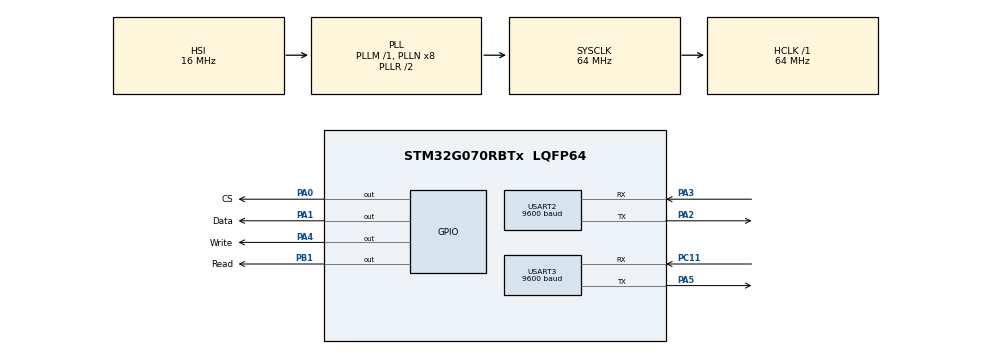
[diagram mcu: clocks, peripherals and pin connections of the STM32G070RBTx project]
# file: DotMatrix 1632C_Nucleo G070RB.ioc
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Mcu.Family=STM32G0
Mcu.Name=STM32G070RBTx
Mcu.Package=LQFP64
NVIC.USART2_IRQn=true\:0\:0\:false\:false\:true\:true\:true
NVIC.USART3_4_IRQn=true\:0\:0\:false\:false\:true\:true\:true
PA0.GPIO_Label=CS
PA0.GPIO_ModeDefaultOutputPP=GPIO_MODE_OUTPUT_PP
PA0.GPIO_PuPd=GPIO_NOPULL
PA0.Signal=GPIO_Output
PA1.GPIO_Label=Data
PA1.GPIO_ModeDefaultOutputPP=GPIO_MODE_OUTPUT_PP
PA1.GPIO_PuPd=GPIO_NOPULL
PA1.Signal=GPIO_Output
PA2.Mode=Asynchronous
PA2.Signal=USART2_TX
PA3.Mode=Asynchronous
PA3.Signal=USART2_RX
PA4.GPIO_Label=Write
PA4.GPIO_ModeDefaultOutputPP=GPIO_MODE_OUTPUT_PP
PA4.GPIO_PuPd=GPIO_NOPULL
PA4.Signal=GPIO_Output
PA5.Mode=Asynchronous
PA5.Signal=USART3_TX
PB1.GPIO_Label=Read
PB1.GPIO_ModeDefaultOutputPP=GPIO_MODE_OUTPUT_PP
PB1.GPIO_PuPd=GPIO_NOPULL
PB1.Signal=GPIO_Output
PC11.Mode=Asynchronous
PC11.Signal=USART3_RX
PC14-OSC32_IN\ (PC14).Mode=LSE-External-Oscillator
PC14-OSC32_IN\ (PC14).Signal=RCC_OSC32_IN
PC15-OSC32_OUT\ (PC15).Mode=LSE-External-Oscillator
PC15-OSC32_OUT\ (PC15).Signal=RCC_OSC32_OUT
PF0-OSC_IN\ (PF0).Mode=HSE-External-Oscillator
PF0-OSC_IN\ (PF0).Signal=RCC_OSC_IN
PF1-OSC_OUT\ (PF1).Mode=HSE-External-Oscillator
PF1-OSC_OUT\ (PF1).Signal=RCC_OSC_OUT
ProjectManager.HeapSize=0x200
ProjectManager.StackSize=0x400
ProjectManager.TargetToolchain=MDK-ARM V5.27
RCC.ADCFreq_Value=64000000
RCC.AHBFreq_Value=64000000
RCC.CortexFreq_Value=64000000
RCC.EXTERNAL_CLOCK_VALUE=48000
RCC.HCLKFreq_Value=64000000
RCC.HSE_VALUE=8000000
RCC.HSI_VALUE=16000000
RCC.RTCClockSelection=RCC_RTCCLKSOURCE_LSE
RCC.SYSCLKFreq_VALUE=64000000
RCC.SYSCLKSource=RCC_SYSCLKSOURCE_PLLCLK
RCC.VCOOutputFreq_Value=128000000
RTC.Date=8
RTC.Hours=10
RTC.Minutes=20
RTC.Month=RTC_MONTH_AUGUST
RTC.Seconds=30
TIM1.Prescaler=64-1
USART2.BaudRate=9600
USART2.VirtualMode-Asynchronous=VM_ASYNC
USART3.BaudRate=9600
USART3.VirtualMode-Asynchronous=VM_ASYNC
VP_RTC_VS_RTC_Activate.Mode=RTC_Enabled
VP_RTC_VS_RTC_Calendar.Mode=RTC_Calendar
VP_SYS_VS_DBSignals.Mode=DisableDeadBatterySignals
VP_TIM1_VS_ClockSourceINT.Mode=Internal
board=custom

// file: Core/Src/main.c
/* USER CODE BEGIN Header */
/**
  ******************************************************************************
  * @file           : main.c
  * @brief          : Main program body
  ******************************************************************************
  * @attention
  *
  * <h2><center>&copy; Copyright (c) 2022 STMicroelectronics.
  * All rights reserved.</center></h2>
  *
  * This software component is licensed by ST under BSD 3-Clause license,
  * the "License"; You may not use this file except in compliance with the
  * License. You may obtain a copy of the License at:
  *                        opensource.org/licenses/BSD-3-Clause
  *
  ******************************************************************************
  */
/* USER CODE END Header */
#include "main.h"

/* USER CODE BEGIN Includes */
#include "stdio.h"
#include "string.h"
/* USER CODE END Includes */

/* USER CODE BEGIN PTD */
#ifdef __GNUC__
  /* With GCC, small printf (option LD Linker->Libraries->Small printf
     set to 'Yes') calls __io_putchar() */
  #define PUTCHAR_PROTOTYPE int __io_putchar(int ch)
#else
  #define PUTCHAR_PROTOTYPE int fputc(int ch, FILE *f)
#endif /* __GNUC__ */
/* USER CODE END PTD */

RTC_HandleTypeDef hrtc;

TIM_HandleTypeDef htim1;

UART_HandleTypeDef huart2;
UART_HandleTypeDef huart3;

/* USER CODE BEGIN PV */

// Block Segment
uint16_t firstSeg[] = {0xfe, 0xfe, 0x35, 0x31, 0x2d, 0x29, 0x25, 0x21, 0x1d, 0x19, 0x15, 0x11, 0x0d, 0x09, 0x05, 0x01};
uint16_t secSeg[] 	= {0xfe, 0xfe, 0x34, 0x30, 0x2c, 0x28, 0x24, 0x20, 0x1c, 0x18, 0x14, 0x10, 0x0c, 0x08, 0x04, 0x00};

// Variables for time
uint8_t jam = 0, menit = 0, detik = 0;
char time[10];
char date[10];
RTC_DateTypeDef gDate;
RTC_TimeTypeDef gTime;
char Rx_deviceSerial[10], Tx_deviceSerial[10];
_Bool timeCmd, playCmd, wifiCmd;
char commandData[10];
/* USER CODE END PV */

void SystemClock_Config(void);
static void MX_GPIO_Init(void);
static void MX_TIM1_Init(void);
static void MX_USART2_UART_Init(void);
static void MX_RTC_Init(void);
static void MX_USART3_UART_Init(void);
/* USER CODE BEGIN PFP */

// Function for sending data to HT1632C
void delay_us (uint16_t us);
void CS();
void CMD_100_Command(uint16_t byte);
void CMD_101_Write(uint16_t byte, uint8_t data);
void clear101();
void init();
uint16_t convertNumber(int num);

// Function for timer
void displayHour(uint8_t hr);
void displayMinSec(uint8_t min, uint8_t sec);
void sendToMonitor(char data[10]);
void sendToNucleog031(char data[10]);
void setTime(void);
void get_time(void);
void clearBuf();
/* USER CODE END PFP */

/* USER CODE BEGIN 0 */
void HAL_UART_RxCpltCallback(UART_HandleTypeDef *huart)
{
	HAL_UART_Receive_IT(serialG031, (uint8_t *)Rx_deviceSerial, sizeof(Rx_deviceSerial));
	//sendToMonitor(Rx_deviceSerial);
}

void get_time(void)
{
	HAL_RTC_GetTime(&hrtc, &gTime, RTC_FORMAT_BIN);
	HAL_RTC_GetDate(&hrtc, &gDate, RTC_FORMAT_BIN);
	sprintf((char*)time,"%02d:%02d:%02d",gTime.Hours, gTime.Minutes, gTime.Seconds);
	//sendToNucleog031(time);
	//sendToMonitor(time);
	//sprintf((char*)date,"%02d-%02d-%2d",gDate.Date, gDate.Month, 2000 + gDate.Year);
}

void clearBuf() {for(int i=0; i<strlen(commandData); i++) {commandData[i] = '\0';}}

/* USER CODE END 0 */

int main(void)
{

  /* MCU Configuration--------------------------------------------------------*/

  /* Reset of all peripherals, Initializes the Flash interface and the Systick. */
  HAL_Init();

  /* Configure the system clock */
  SystemClock_Config();

  /* Initialize all configured peripherals */
  MX_GPIO_Init();
  MX_TIM1_Init();
  MX_USART2_UART_Init();
  MX_RTC_Init();
  MX_USART3_UART_Init();
  /* USER CODE BEGIN 2 */
	HAL_TIM_Base_Start(&htim1);			// Start timer 1 for delay_Us function
	init();													// Initialize display
	HAL_UART_Receive_IT(serialG031, (uint8_t *)Rx_deviceSerial, sizeof(Rx_deviceSerial)); 	// Receive interrupt data from UART

	// Init variable
	timeCmd 	= 1;
	playCmd 	= 1;
	wifiCmd		= 1;

	// Set time
	if (HAL_RTCEx_BKUPRead(&hrtc, RTC_BKP_DR1) != 0x32f2)
	{
		setTime();
	}
  /* USER CODE END 2 */

  /* Infinite loop */
  while (1)
  {

    /* USER CODE BEGIN 3 */

		// Current time from RTC
		get_time();

		// Assign time to Transmit data buffer
		strncpy(Tx_deviceSerial, time, 10);
		// Assign received data from UART Nuclog031 to buffer
		strncpy(commandData, Rx_deviceSerial, 10);

		timeCmd 	= strcmp(commandData, "\ntime\r");
		playCmd 	= strcmp(commandData, "\nplay\r");
		wifiCmd		= strcmp(commandData, "\nwifi\r");

		// Send data time to other if requested
		if(timeCmd == 0)
		{
			//sendToMonitor(Tx_deviceSerial);
			sendToNucleog031(Tx_deviceSerial);
			HAL_Delay(100);
			clearBuf();
			timeCmd = 1;
		}
		else if (playCmd == 0)	{CMD_101_Write(0x22, 0x1); playCmd = 1;}		// Turn On Play Symbol
		else if (wifiCmd == 0)	{CMD_101_Write(0x12, 0x1); wifiCmd = 1;}		// Turn On WiFi Symbol

		CMD_101_Write(0xe, 0x2);			// Titik dua kiri
		CMD_101_Write(0x12, 0x2);			// Titik dua kanan

		displayMinSec(gTime.Minutes, gTime.Seconds);
		displayHour(gTime.Hours);

		detik++;
		if (detik == 60)
		{
			detik = 0;
			menit++;
		}
		else if (menit == 60)
		{
			detik = 0;
			menit = 0;
			jam++;
		}
		else if (jam == 24)
		{
			jam = 0;
			menit = 0;
			detik++;
		}
		HAL_Delay(1000);
  }
  /* USER CODE END 3 */
}

void SystemClock_Config(void)
{
  RCC_OscInitTypeDef RCC_OscInitStruct = {0};
  RCC_ClkInitTypeDef RCC_ClkInitStruct = {0};
  RCC_PeriphCLKInitTypeDef PeriphClkInit = {0};

  /** Configure the main internal regulator output voltage
  */
  HAL_PWREx_ControlVoltageScaling(PWR_REGULATOR_VOLTAGE_SCALE1);
  /** Configure LSE Drive Capability
  */
  HAL_PWR_EnableBkUpAccess();
  __HAL_RCC_LSEDRIVE_CONFIG(RCC_LSEDRIVE_LOW);
  /** Initializes the RCC Oscillators according to the specified parameters
  * in the RCC_OscInitTypeDef structure.
  */
  RCC_OscInitStruct.OscillatorType = RCC_OSCILLATORTYPE_HSI|RCC_OSCILLATORTYPE_LSE;
  RCC_OscInitStruct.LSEState = RCC_LSE_ON;
  RCC_OscInitStruct.HSIState = RCC_HSI_ON;
  RCC_OscInitStruct.HSIDiv = RCC_HSI_DIV1;
  RCC_OscInitStruct.HSICalibrationValue = RCC_HSICALIBRATION_DEFAULT;
  RCC_OscInitStruct.PLL.PLLState = RCC_PLL_ON;
  RCC_OscInitStruct.PLL.PLLSource = RCC_PLLSOURCE_HSI;
  RCC_OscInitStruct.PLL.PLLM = RCC_PLLM_DIV1;
  RCC_OscInitStruct.PLL.PLLN = 8;
  RCC_OscInitStruct.PLL.PLLP = RCC_PLLP_DIV2;
  RCC_OscInitStruct.PLL.PLLR = RCC_PLLR_DIV2;
  if (HAL_RCC_OscConfig(&RCC_OscInitStruct) != HAL_OK)
  {
    Error_Handler();
  }
  /** Initializes the CPU, AHB and APB buses clocks
  */
  RCC_ClkInitStruct.ClockType = RCC_CLOCKTYPE_HCLK|RCC_CLOCKTYPE_SYSCLK
                              |RCC_CLOCKTYPE_PCLK1;
  RCC_ClkInitStruct.SYSCLKSource = RCC_SYSCLKSOURCE_PLLCLK;
  RCC_ClkInitStruct.AHBCLKDivider = RCC_SYSCLK_DIV1;
  RCC_ClkInitStruct.APB1CLKDivider = RCC_HCLK_DIV1;

  if (HAL_RCC_ClockConfig(&RCC_ClkInitStruct, FLASH_LATENCY_2) != HAL_OK)
  {
    Error_Handler();
  }
  /** Initializes the peripherals clocks
  */
  PeriphClkInit.PeriphClockSelection = RCC_PERIPHCLK_RTC|RCC_PERIPHCLK_USART2;
  PeriphClkInit.Usart2ClockSelection = RCC_USART2CLKSOURCE_PCLK1;
  PeriphClkInit.RTCClockSelection = RCC_RTCCLKSOURCE_LSE;

  if (HAL_RCCEx_PeriphCLKConfig(&PeriphClkInit) != HAL_OK)
  {
    Error_Handler();
  }
}

static void MX_RTC_Init(void)
{

  /** Initialize RTC Only
  */
  hrtc.Instance = RTC;
  hrtc.Init.HourFormat = RTC_HOURFORMAT_24;
  hrtc.Init.AsynchPrediv = 127;
  hrtc.Init.SynchPrediv = 255;
  hrtc.Init.OutPut = RTC_OUTPUT_DISABLE;
  hrtc.Init.OutPutRemap = RTC_OUTPUT_REMAP_NONE;
  hrtc.Init.OutPutPolarity = RTC_OUTPUT_POLARITY_HIGH;
  hrtc.Init.OutPutType = RTC_OUTPUT_TYPE_OPENDRAIN;
  hrtc.Init.OutPutPullUp = RTC_OUTPUT_PULLUP_NONE;
  if (HAL_RTC_Init(&hrtc) != HAL_OK)
  {
    Error_Handler();
  }

}

static void MX_TIM1_Init(void)
{

  TIM_ClockConfigTypeDef sClockSourceConfig = {0};
  TIM_MasterConfigTypeDef sMasterConfig = {0};

  htim1.Instance = TIM1;
  htim1.Init.Prescaler = 64-1;
  htim1.Init.CounterMode = TIM_COUNTERMODE_UP;
  htim1.Init.Period = 65535;
  htim1.Init.ClockDivision = TIM_CLOCKDIVISION_DIV1;
  htim1.Init.RepetitionCounter = 0;
  htim1.Init.AutoReloadPreload = TIM_AUTORELOAD_PRELOAD_DISABLE;
  if (HAL_TIM_Base_Init(&htim1) != HAL_OK)
  {
    Error_Handler();
  }
  sClockSourceConfig.ClockSource = TIM_CLOCKSOURCE_INTERNAL;
  if (HAL_TIM_ConfigClockSource(&htim1, &sClockSourceConfig) != HAL_OK)
  {
    Error_Handler();
  }
  sMasterConfig.MasterOutputTrigger = TIM_TRGO_RESET;
  sMasterConfig.MasterOutputTrigger2 = TIM_TRGO2_RESET;
  sMasterConfig.MasterSlaveMode = TIM_MASTERSLAVEMODE_DISABLE;
  if (HAL_TIMEx_MasterConfigSynchronization(&htim1, &sMasterConfig) != HAL_OK)
  {
    Error_Handler();
  }

}

static void MX_USART2_UART_Init(void)
{

  huart2.Instance = USART2;
  huart2.Init.BaudRate = 9600;
  huart2.Init.WordLength = UART_WORDLENGTH_8B;
  huart2.Init.StopBits = UART_STOPBITS_1;
  huart2.Init.Parity = UART_PARITY_NONE;
  huart2.Init.Mode = UART_MODE_TX_RX;
  huart2.Init.HwFlowCtl = UART_HWCONTROL_NONE;
  huart2.Init.OverSampling = UART_OVERSAMPLING_16;
  huart2.Init.OneBitSampling = UART_ONE_BIT_SAMPLE_DISABLE;
  huart2.Init.ClockPrescaler = UART_PRESCALER_DIV1;
  huart2.AdvancedInit.AdvFeatureInit = UART_ADVFEATURE_NO_INIT;
  if (HAL_UART_Init(&huart2) != HAL_OK)
  {
    Error_Handler();
  }
  if (HAL_UARTEx_SetTxFifoThreshold(&huart2, UART_TXFIFO_THRESHOLD_1_8) != HAL_OK)
  {
    Error_Handler();
  }
  if (HAL_UARTEx_SetRxFifoThreshold(&huart2, UART_RXFIFO_THRESHOLD_1_8) != HAL_OK)
  {
    Error_Handler();
  }
  if (HAL_UARTEx_DisableFifoMode(&huart2) != HAL_OK)
  {
    Error_Handler();
  }

}

static void MX_USART3_UART_Init(void)
{

  huart3.Instance = USART3;
  huart3.Init.BaudRate = 9600;
  huart3.Init.WordLength = UART_WORDLENGTH_8B;
  huart3.Init.StopBits = UART_STOPBITS_1;
  huart3.Init.Parity = UART_PARITY_NONE;
  huart3.Init.Mode = UART_MODE_TX_RX;
  huart3.Init.HwFlowCtl = UART_HWCONTROL_NONE;
  huart3.Init.OverSampling = UART_OVERSAMPLING_16;
  huart3.Init.OneBitSampling = UART_ONE_BIT_SAMPLE_DISABLE;
  huart3.Init.ClockPrescaler = UART_PRESCALER_DIV1;
  huart3.AdvancedInit.AdvFeatureInit = UART_ADVFEATURE_NO_INIT;
  if (HAL_UART_Init(&huart3) != HAL_OK)
  {
    Error_Handler();
  }

}

static void MX_GPIO_Init(void)
{
  GPIO_InitTypeDef GPIO_InitStruct = {0};

  /* GPIO Ports Clock Enable */
  __HAL_RCC_GPIOC_CLK_ENABLE();
  __HAL_RCC_GPIOF_CLK_ENABLE();
  __HAL_RCC_GPIOA_CLK_ENABLE();
  __HAL_RCC_GPIOB_CLK_ENABLE();

  /*Configure GPIO pin Output Level */
  HAL_GPIO_WritePin(GPIOA, CS_Pin|Data_Pin|Write_Pin, GPIO_PIN_RESET);

  /*Configure GPIO pin Output Level */
  HAL_GPIO_WritePin(Read_GPIO_Port, Read_Pin, GPIO_PIN_RESET);

  /*Configure GPIO pins : CS_Pin Data_Pin Write_Pin */
  GPIO_InitStruct.Pin = CS_Pin|Data_Pin|Write_Pin;
  GPIO_InitStruct.Mode = GPIO_MODE_OUTPUT_PP;
  GPIO_InitStruct.Pull = GPIO_NOPULL;
  GPIO_InitStruct.Speed = GPIO_SPEED_FREQ_LOW;
  HAL_GPIO_Init(GPIOA, &GPIO_InitStruct);

  /*Configure GPIO pin : Read_Pin */
  GPIO_InitStruct.Pin = Read_Pin;
  GPIO_InitStruct.Mode = GPIO_MODE_OUTPUT_PP;
  GPIO_InitStruct.Pull = GPIO_NOPULL;
  GPIO_InitStruct.Speed = GPIO_SPEED_FREQ_LOW;
  HAL_GPIO_Init(Read_GPIO_Port, &GPIO_InitStruct);

}

/* USER CODE BEGIN 4 */
void sendToMonitor(char data[10])
{
	char buf[10];
	sprintf(buf, "\n%s\r", data);
	HAL_UART_Transmit_IT(serialMonitor, (uint8_t *)&buf, sizeof(buf));
}

void sendToNucleog031(char data[10])
{
	char buf[10];
	sprintf(buf, "\n%s\r", data);
	HAL_UART_Transmit_IT(serialG031, (uint8_t *)&buf, sizeof(buf));
}

void setTime(void)
{
	/* USER CODE BEGIN Check_RTC_BKUP */
	RTC_TimeTypeDef sTime = {0};
  RTC_DateTypeDef sDate = {0};
  /* USER CODE END Check_RTC_BKUP */
//
  /** Initialize RTC and set the Time and Date **/
  sTime.Hours = 0x10;
  sTime.Minutes = 0x17;
  sTime.Seconds = 0x00;
  sTime.SubSeconds = 0x0;
  sTime.DayLightSaving = RTC_DAYLIGHTSAVING_NONE;
  sTime.StoreOperation = RTC_STOREOPERATION_RESET;
  if (HAL_RTC_SetTime(&hrtc, &sTime, RTC_FORMAT_BCD) != HAL_OK)
  {
    Error_Handler();
  }
  sDate.WeekDay = RTC_WEEKDAY_THURSDAY;
  sDate.Month = RTC_MONTH_AUGUST;
  sDate.Date = 0x19;
  sDate.Year = 0x22;

  if (HAL_RTC_SetDate(&hrtc, &sDate, RTC_FORMAT_BCD) != HAL_OK)
  {
    Error_Handler();
  }
  /* USER CODE BEGIN RTC_Init 2 */
	HAL_RTCEx_BKUPWrite(&hrtc, RTC_BKP_DR1, 0x32F2);
  /* USER CODE END RTC_Init 2 */
}

PUTCHAR_PROTOTYPE
{
  /* Place your implementation of fputc here */
  /* e.g. write a character to the EVAL_COM1 and Loop until the end of transmission */
  HAL_UART_Transmit_IT(serialG031, (uint8_t *)&ch, 1);
	HAL_UART_Transmit_IT(serialMonitor, (uint8_t *)&ch, 1);
  return ch;
}

void displayHour(uint8_t hr)
{
	uint8_t value;
	uint16_t puluhanJam = convertNumber((hr/10)%10);
	uint16_t satuanJam = convertNumber(hr%10);
	uint16_t charM = Char_M;
	uint16_t charA = Char_A;
	uint16_t charP = Char_P;

	for(int i=0; i<16; i++)
	{
		if 							(satuanJam&0x01) 			{value |= 1;}
		else 																	{value |= 0;}
		value <<=3;

		if 							(puluhanJam&0x01) 		{value |= 4;}
		else 																	{value |= 0;}

		if 							(charM&0x01) 					{value |= 2;}
		else																	{value |= 0;}

		if (hr >= 12)
		{	if 							(charP&0x01) 					{value |= 1;}
			else																	{value |= 0;}	}
		else if (hr < 12)
		{	if 							(charA&0x01) 					{value |= 1;}
			else																	{value |= 0;}	}

		CMD_101_Write(secSeg[i], value);
		charM >>= 1;
		charA >>= 1;
		charP >>= 1;
		puluhanJam >>= 1;
		satuanJam >>= 1;
		value = 0;
	}
}

void displayMinSec(uint8_t min, uint8_t sec)
{
	uint8_t value;			// Data will be send to address
	uint16_t puluhanMenit = convertNumber((min/10)%10);
	uint16_t satuanMenit = convertNumber(min%10);
	uint16_t puluhanDetik = convertNumber((sec/10)%10);
	uint16_t satuanDetik = convertNumber(sec%10);

	for (int i=0; i<16; i++)
	{
		if 							(satuanDetik&0x01)		{value |= 1;}
		else 																	{value |= 0;}
		value <<= 1;

		if 							(puluhanDetik&0x01) 	{value |= 1;}
		else 																	{value |= 0;}
		value <<=1;

		if 							(satuanMenit&0x01) 		{value |= 1;}
		else 																	{value |= 0;}
		value <<=1;

		if 							(puluhanMenit&0x01) 	{value |= 1;}
		else 																	{value |= 0;}

		CMD_101_Write(firstSeg[i], value);
		puluhanMenit >>= 1;
		satuanMenit >>= 1;
		puluhanDetik >>= 1;
		satuanDetik >>= 1;
		value = 0;
	}
}

uint16_t convertNumber(int num)
{
	uint16_t converted;
	switch (num)
	{
		case (0x00):
			converted = ZERO;
			break;
		case (0x01):
			converted = ONE;
			break;
		case (0x02):
			converted = TWO;
			break;
		case (0x03):
			converted = THREE;
			break;
		case (0x04):
			converted = FOUR;
			break;
		case (0x05):
			converted = FIVE;
			break;
		case (0x06):
			converted = SIX;
			break;
		case (0x07):
			converted = SEVEN;
			break;
		case (0x08):
			converted = EIGHT;
			break;
		case (0x09):
			converted = NINE;
			break;
	}
	return converted;
}

void delay_us (uint16_t us)
{
	__HAL_TIM_SET_COUNTER(&htim1,0);  // set the counter value a 0
	while (__HAL_TIM_GET_COUNTER(&htim1) < us);  // wait for the counter to reach the us input in the parameter
}

void CS()
{
	CS1;
	delay_us(50);
	CS0;
	delay_us(50);
}

void CMD_100_Command(uint16_t byte)
{
	uint8_t id = 0x04;

	CS();
	for (int i=0; i<3; i++)
	{
		writeClk0;
		if ((id&0x04) == 0x04){writePin(GPIOA, GPIO_PIN_1, 1);}
		else {writePin(GPIOA, GPIO_PIN_1, 0);}
		delay_us(50);
		writeClk1;
		delay_us(50);
		id = id >> 1;
	}

	for (int i=0; i<9; i++)
	{
		writeClk0;
		if ((byte & 0x100) ==  0x100)
		{
			writePin(GPIOA, GPIO_PIN_1, 1);
		}
		else
		{
			writePin(GPIOA, GPIO_PIN_1, 0);
		}
		delay_us(50);
		writeClk1;
		byte <<= 1;
		delay_us(50);
	}
}

void CMD_101_Write(uint16_t byte, uint8_t data)
{
	uint8_t id = 0x05;

	CS();
	for (int i=0; i<3; i++)
	{
		writeClk0;
		if ((id&0x01) == 0x01){writePin(GPIOA, GPIO_PIN_1, 1);}
		else {writePin(GPIOA, GPIO_PIN_1, 0);}
		delay_us(50);
		writeClk1;
		delay_us(50);
		id = id >> 1;
	}

	for (int i=0; i<7; i++)
	{
		writeClk0;
		if ((byte&0x40) ==  0x40)
		{
			writePin(GPIOA, GPIO_PIN_1, 1);
		}
		else
		{
			writePin(GPIOA, GPIO_PIN_1, 0);
		}
		delay_us(50);
		writeClk1;
		byte <<= 1;
		delay_us(50);
	}

	for (int i=0; i<4; i++)
	{
		writeClk0;
		if ((data&0x01) == 0x01)
		{
			writePin(GPIOA, GPIO_PIN_1, 1);
		}
		else
		{
			writePin(GPIOA, GPIO_PIN_1, 0);
		}
		delay_us(50);
		writeClk1;
		data = data >> 1;
		delay_us(50);
	}
}

void clear101()
{
	for(int f = 0; f < 95; f++){
		CMD_101_Write(f, 0x0);
	}
}

void init()
{
	CMD_100_Command(sys_dis);
	CMD_100_Command(N_Mos_16COM);
	CMD_100_Command(MasterMode);
	CMD_100_Command(sys_en);
	CMD_100_Command(pwmMax);
	CMD_100_Command(blinkOff);
	CMD_100_Command(led_on);
	clear101();
}
/* USER CODE END 4 */

void Error_Handler(void)
{
  __disable_irq();
  while (1)
  {
  }
}

/************************ (C) COPYRIGHT STMicroelectronics *****END OF FILE****/
